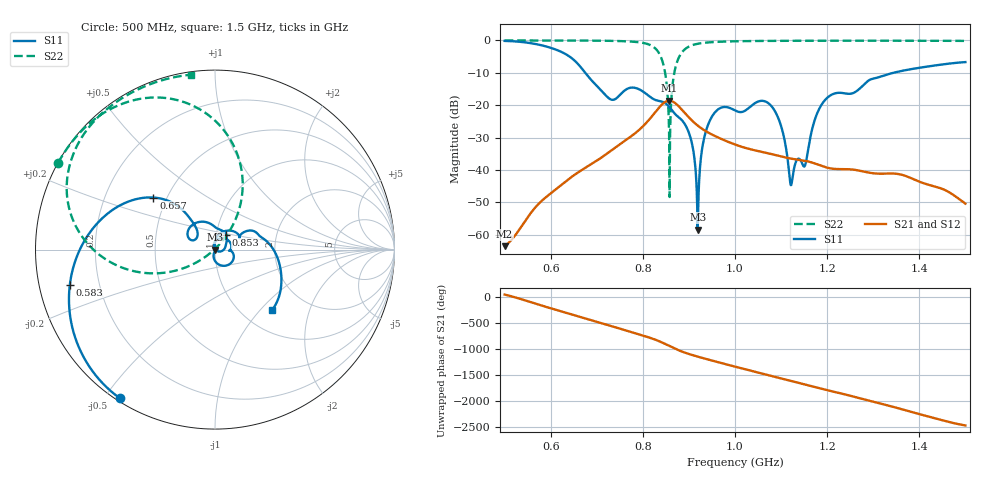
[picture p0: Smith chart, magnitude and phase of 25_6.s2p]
! TOUCHSTONE file generated by CST MICROWAVE STUDIO
! Date and time: Fri Oct  2 18:58:03 2020
! Project name: Scenario_1_Free_Space_out_of_line.cst
! Parameters = {Lambda=346.42; Step_1=17.321; dy1=-68.544; dx1=1039; L_HA=400; MT=2.54; Rad_Dielectric=30; Rad_Lower=7.3; Rad_Upper=30; a_HA=580; a_WG=246; b_HA=500; b_WG=121; c_HA=0; c_WG=187; d_feed=85; h_feed=15; h_lower=18; h_upper=40}
! Header version: 2018
! Port assignment regex: !\s*Touchstone port\s*([0-9]+)\s*=\s*(CST MWS port|CST DS port)\s*([0-9]+|Zmin|Zmax)\s*\(\"(.*)\"\)(\s*mode\s*([0-9]+))?.*
! Touchstone port assignment:
! Touchstone port 1 = CST MWS port 1 ("")
! Touchstone port 2 = CST MWS port 2 ("")
# GHz S DB R 50
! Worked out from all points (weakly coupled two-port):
!   1003 points, 500 MHz to 1.5 GHz, reference 50 ohm
!   highest |S21| = -18.60 dB at 857 MHz (marker M1); lowest = -63.6 dB at 500 MHz (marker M2)
!   lowest |S11| = -58.4 dB at 919 MHz (marker M3), VSWR 1.00, Z = 50.1 + j0.0538 ohm
!   |S11| at or under -10 dB: 675 MHz to 1.344 GHz (668.6 MHz wide, 66.2 % of centre)
!   |S22| runs from -48.4 to 0.0 dB; largest |S21 - S12| = 8.3e-06
!   S11 on the Smith chart (normalised r, x): 500 MHz: 0.01, -0.55; 583 MHz: 0.09, -0.12; 657 MHz: 0.42, +0.31; 853 MHz: 1.11, +0.18; 1.5 GHz: 1.36, -1.16
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0.5  -0.15 -122.6  -63.55 46.7  -63.55 46.7  -0.01 151.1
0.583  -1.60 -166.4  -49.24 -171.5  -49.24 -171.5  -0.02 145.3
0.657  -6.94 139.8  -41.00 -5.6  -41.00 -5.6  -0.04 139.2
0.667  -8.56 133.6  -40.08 -32.2  -40.08 -32.2  -0.04 138.2
0.73  -18.20 142.8  -34.14 166.2  -34.14 166.2  -0.13 130.6
0.834  -18.66 80.2  -20.96 -123.3  -20.96 -123.3  -3.68 84.8
0.847  -19.25 62.8  -19.13 -174.4  -19.13 -174.4  -8.98 64.6
0.853  -19.88 53.1  -18.70 159.9  -18.70 159.9  -15.45 53.9
0.857  -20.46 46.8  -18.60 142.6  -18.60 142.6  -28.87 49.8
0.876  -23.53 24.7  -20.10 64.5  -20.10 64.5  -5.97 -167.4
0.903  -29.85 -18.9  -24.22 -22.2  -24.22 -22.2  -1.70 166.7
0.919  -58.42 26.6  -26.29 -64.2  -26.29 -64.2  -1.03 158.4
0.931  -31.52 102.5  -27.53 -93.7  -27.53 -93.7  -0.77 154.0
0.946  -24.58 74.7  -28.77 -129.7  -28.77 -129.7  -0.57 149.8
1  -21.62 -2.8  -32.15 104.0  -32.15 104.0  -0.26 140.1
1.08  -20.45 -68.8  -35.14 -77.3  -35.14 -77.3  -0.14 131.4
1.122  -44.66 -38.5  -36.51 -171.4  -36.51 -171.4  -0.11 127.7
1.152  -38.64 55.3  -37.18 120.1  -37.18 120.1  -0.10 125.3
1.167  -27.65 91.2  -37.71 85.0  -37.71 85.0  -0.10 124.1
1.204  -17.27 50.5  -39.43 4.6  -39.43 4.6  -0.09 121.2
1.334  -10.36 6.2  -41.11 75.2  -41.11 75.1  -0.09 111.3
1.5  -6.69 -46.5  -50.41 55.8  -50.41 55.8  -0.14 97.8
